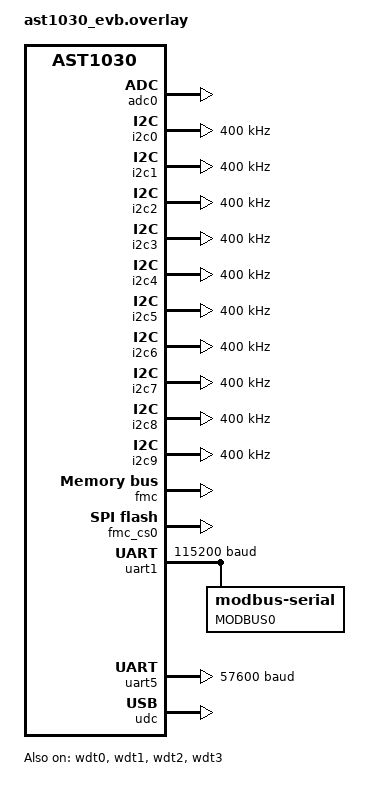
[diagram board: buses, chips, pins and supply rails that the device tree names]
&adc0 {
	status = "okay";
	pinctrl-0 = <&pinctrl_adc0_default 
							 &pinctrl_adc1_default
				 			 &pinctrl_adc2_default 
							 &pinctrl_adc3_default 
							 &pinctrl_adc4_default>;
	aspeed,adc-channels-used = <0x1F>;
};

&i2c0 {
	pinctrl-0 = <&pinctrl_i2c1_default>;
	status = "okay";
	clock-frequency = <I2C_BITRATE_FAST>;
};

&i2c1 {
	pinctrl-0 = <&pinctrl_i2c1_default>;
	status = "okay";
	clock-frequency = <I2C_BITRATE_FAST>;
};

&i2c2 {
	pinctrl-0 = <&pinctrl_i2c2_default>;
	status = "okay";
	clock-frequency = <I2C_BITRATE_FAST>;
};

&i2c3 {
	pinctrl-0 = <&pinctrl_i2c3_default>;
	status = "okay";
	clock-frequency = <I2C_BITRATE_FAST>;
};

&i2c4 {
	pinctrl-0 = <&pinctrl_i2c4_default>;
	status = "okay";
	clock-frequency = <I2C_BITRATE_FAST>;
};

&i2c5 {
	pinctrl-0 = <&pinctrl_i2c5_default>;
	status = "okay";
	clock-frequency = <I2C_BITRATE_FAST>;
};

&i2c6 {
	pinctrl-0 = <&pinctrl_i2c5_default>;
	status = "okay";
	clock-frequency = <I2C_BITRATE_FAST>;
};

&i2c7 {
	pinctrl-0 = <&pinctrl_i2c5_default>;
	status = "okay";
	clock-frequency = <I2C_BITRATE_FAST>;
};

&i2c8 {
	pinctrl-0 = <&pinctrl_i2c5_default>;
	status = "okay";
	clock-frequency = <I2C_BITRATE_FAST>;
};

&i2c9 {
	pinctrl-0 = <&pinctrl_i2c5_default>;
	status = "okay";
	clock-frequency = <I2C_BITRATE_FAST>;
};

&fmc {
	status = "okay";
};

&fmc_cs0 {
	status = "okay";
	spi-max-buswidth = <4>;
	spi-max-frequency = <50000000>;

	partitions {
		compatible = "fixed-partitions";
		#address-cells = <1>;
		#size-cells = <1>;
		boot_partition: partition@0 {
			label = "image-0";
			reg = <0x0 0x100000>;
		};
		dfu_partition: partition@1 {
			label = "image-1";
			reg = <0x0 0x100000>;
		};
	};
};

&uart1 {
	status = "okay";
    current-speed = <115200>;
	modbus0 {
		compatible = "zephyr,modbus-serial";
		label = "MODBUS0";
		status = "okay";
	};
};

&uart5 {
	current-speed = <57600>;
};

&wdt0 {
	status = "okay";
};

&wdt1 {
	status = "okay";
};

&wdt2 {
	status = "okay";
};

&wdt3 {
	status = "okay";
};

&sram0 {
	reg = <0 DT_SIZE_K(608)>, <0x98000 DT_SIZE_K(160)>;
};

&udc {
	status = "okay";
};
